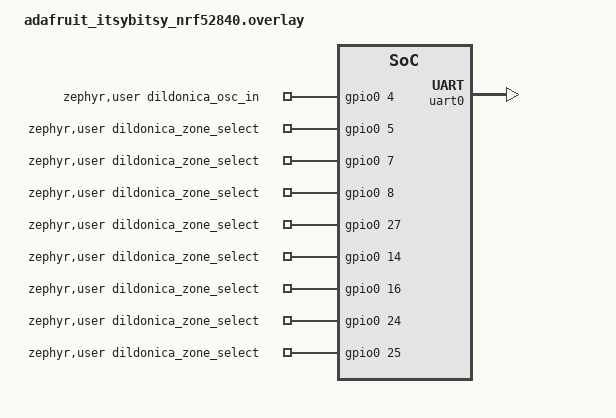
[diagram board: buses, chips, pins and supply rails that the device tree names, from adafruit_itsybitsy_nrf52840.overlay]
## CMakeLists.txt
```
#
# Copyright (c) 2018 Nordic Semiconductor
#
# SPDX-License-Identifier: LicenseRef-Nordic-5-Clause
#
cmake_minimum_required(VERSION 3.20.0)

find_package(Zephyr REQUIRED HINTS $ENV{ZEPHYR_BASE})
project(dildonica)

# NORDIC SDK APP START
target_sources(app PRIVATE
  src/bluetooth_peripheral_gatt.cpp
  src/bluetooth_dildonica.cpp
  src/dildonica.cpp
)

#target_include_directories(app PRIVATE common)

# NORDIC SDK APP END
```

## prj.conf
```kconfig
CONFIG_NRFX_TIMER3=y
CONFIG_NRFX_TIMER4=y
CONFIG_NRFX_TIMER2=y
CONFIG_NRFX_COMP=y
CONFIG_NRFX_PPI=y
CONFIG_GPIO=y

CONFIG_STD_C23=y
#CONFIG_DEBUG=y
CONFIG_DEBUG_OPTIMIZATIONS=y

CONFIG_BT=y
CONFIG_BT_PERIPHERAL=y
CONFIG_BT_GATT_CLIENT=y
CONFIG_BT_DEVICE_NAME="Dildonica V2"

CONFIG_BT_SMP=y
CONFIG_BT_SMP_ALLOW_UNAUTH_OVERWRITE=y

CONFIG_BT_BUF_ACL_RX_SIZE=255
CONFIG_BT_BUF_ACL_TX_SIZE=251
CONFIG_BT_BUF_CMD_TX_SIZE=255
CONFIG_BT_BUF_EVT_DISCARDABLE_SIZE=255

CONFIG_BT_L2CAP_TX_MTU=247

CONFIG_HEAP_MEM_POOL_SIZE=256

CONFIG_LOG=y

#CONFIG_USE_SEGGER_RTT=y
#CONFIG_RTT_CONSOLE=y

#CONFIG_UART_CONSOLE=n

CONFIG_CPP=y
```

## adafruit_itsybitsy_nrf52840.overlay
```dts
// To get started, press Ctrl+Space to bring up the completion menu and view the available nodes.

// You can also use the buttons in the sidebar to perform actions on nodes.
// Actions currently available include:

// * Enabling / disabling the node
// * Adding the bus to a bus
// * Removing the node
// * Connecting ADC channels

// For more help, browse the DeviceTree documentation at https://docs.zephyrproject.org/latest/guides/dts/index.html
// You can also visit the nRF DeviceTree extension documentation at https://docs.nordicsemi.com/bundle/nrf-connect-vscode/page/guides/ncs_configure_app.html#devicetree-support-in-the-extension

/ {
	zephyr,user {
		dildonica_osc_in-gpios = <&gpio0 4 0>;
		dildonica_zone_select-gpios = <&gpio0 5 0>, <&gpio0 7 0>, <&gpio0 8 0>, <&gpio0 27 0>, <&gpio0 14 0>, <&gpio0 16 0>, <&gpio0 24 0>, <&gpio0 25 0>;
	};
};

&uart0 {
	status = "okay";
};

&uart0_default {
	group1 {
		psels = <NRF_PSEL(UART_TX, 0, 15)>, <NRF_PSEL(UART_RX, 0, 20)>;
	};
};
```

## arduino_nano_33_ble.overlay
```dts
// To get started, press Ctrl+Space to bring up the completion menu and view the available nodes.

// You can also use the buttons in the sidebar to perform actions on nodes.
// Actions currently available include:

// * Enabling / disabling the node
// * Adding the bus to a bus
// * Removing the node
// * Connecting ADC channels

// For more help, browse the DeviceTree documentation at https://docs.zephyrproject.org/latest/guides/dts/index.html
// You can also visit the nRF DeviceTree extension documentation at https://docs.nordicsemi.com/bundle/nrf-connect-vscode/page/guides/ncs_configure_app.html#devicetree-support-in-the-extension

/ {
	zephyr,user {
		dildonica_osc_in-gpios = <&gpio0 4 0>;
		dildonica_zone_select-gpios = <&gpio1 12 0>, <&gpio1 15 0>, <&gpio1 13 0>, <&gpio1 14 0>, <&gpio0 23 0>, <&gpio0 21 0>, <&gpio0 27 0>, <&gpio1 2 0>;
	};
};


&adc {
	status = "disabled";
};

&comp {
	status = "okay";
};

&uart0 {
	current-speed = <1000000>;
	compatible = "nordic,nrf-uarte";
};
```

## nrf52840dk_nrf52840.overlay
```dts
// To get started, press Ctrl+Space to bring up the completion menu and view the available nodes.

// You can also use the buttons in the sidebar to perform actions on nodes.
// Actions currently available include:

// * Enabling / disabling the node
// * Adding the bus to a bus
// * Removing the node
// * Connecting ADC channels

// For more help, browse the DeviceTree documentation at https://docs.zephyrproject.org/latest/guides/dts/index.html
// You can also visit the nRF DeviceTree extension documentation at https://docs.nordicsemi.com/bundle/nrf-connect-vscode/page/guides/ncs_configure_app.html#devicetree-support-in-the-extension

/ {
	zephyr,user {
		dildonica_osc_in-gpios = <&gpio0 4 0>;
		dildonica_zone_select-gpios = <&gpio1 12 0>, <&gpio1 15 0>, <&gpio1 13 0>, <&gpio1 14 0>, <&gpio0 23 0>, <&gpio0 21 0>, <&gpio0 27 0>, <&gpio1 2 0>;
	};
};


&adc {
	status = "disabled";
};

&comp {
	status = "okay";
};
```

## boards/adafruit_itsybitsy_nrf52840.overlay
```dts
// To get started, press Ctrl+Space to bring up the completion menu and view the available nodes.

// You can also use the buttons in the sidebar to perform actions on nodes.
// Actions currently available include:

// * Enabling / disabling the node
// * Adding the bus to a bus
// * Removing the node
// * Connecting ADC channels

// For more help, browse the DeviceTree documentation at https://docs.zephyrproject.org/latest/guides/dts/index.html
// You can also visit the nRF DeviceTree extension documentation at https://docs.nordicsemi.com/bundle/nrf-connect-vscode/page/guides/ncs_configure_app.html#devicetree-support-in-the-extension

/ {
	zephyr,user {
		dildonica_osc_in-gpios = <&gpio0 4 0>;
		dildonica_zone_select-gpios = <&gpio0 14 0>, <&gpio0 27 0>, <&gpio1 8 0>, <&gpio0 7 0>, <&gpio0 5 0>, <&gpio0 26 0>, <&gpio0 11 0>, <&gpio0 12 0>;
	};
};

&adc {
	status = "disabled";
};

&comp {
	status = "okay";
};
```

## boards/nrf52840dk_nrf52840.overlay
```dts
// To get started, press Ctrl+Space to bring up the completion menu and view the available nodes.

// You can also use the buttons in the sidebar to perform actions on nodes.
// Actions currently available include:

// * Enabling / disabling the node
// * Adding the bus to a bus
// * Removing the node
// * Connecting ADC channels

// For more help, browse the DeviceTree documentation at https://docs.zephyrproject.org/latest/guides/dts/index.html
// You can also visit the nRF DeviceTree extension documentation at https://docs.nordicsemi.com/bundle/nrf-connect-vscode/page/guides/ncs_configure_app.html#devicetree-support-in-the-extension

/ {
	zephyr,user {
		dildonica_osc_in-gpios = <&gpio0 4 0>;
		dildonica_zone_select-gpios = <&gpio1 12 0>, <&gpio1 15 0>, <&gpio1 13 0>, <&gpio1 14 0>, <&gpio0 23 0>, <&gpio0 21 0>, <&gpio0 27 0>, <&gpio1 2 0>;
	};
};

&adc {
	status = "disabled";
};

&comp {
	status = "okay";
};
```

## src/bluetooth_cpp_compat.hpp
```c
#ifndef BLUETOOTH_CPP_COMPAT_HPP
#define BLUETOOTH_CPP_COMPAT_HPP

#include <zephyr/bluetooth/bluetooth.h>

#ifdef __cplusplus
extern "C" {
#endif

// Wrapper function to create bt_le_adv_param
inline const struct bt_le_adv_param* create_bt_le_adv_param(uint32_t options,
                                                            uint32_t interval_min,
                                                            uint32_t interval_max,
                                                            const bt_addr_le_t *peer)
{
    static struct bt_le_adv_param param;
    param = {
        .id = BT_ID_DEFAULT,
        .sid = 0,
        .secondary_max_skip = 0,
        .options = options,
        .interval_min = interval_min,
        .interval_max = interval_max,
        .peer = peer
    };
    return &param;
}

// Redefine the problematic macro
#undef BT_LE_ADV_PARAM
#define BT_LE_ADV_PARAM(_options, _int_min, _int_max, _peer) \
    create_bt_le_adv_param((_options), (_int_min), (_int_max), (_peer))

#ifdef __cplusplus
}
#endif

#endif // BLUETOOTH_CPP_COMPAT_HPP
```

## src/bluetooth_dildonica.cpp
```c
#include <zephyr/kernel.h>

#include "circularbuffer.hpp"

#include "bluetooth_dildonica.hpp"

extern "C" {
    #include <zephyr/bluetooth/bluetooth.h>
    #include <zephyr/bluetooth/conn.h>
    #include <zephyr/bluetooth/gatt.h>
}

extern bool notif_enabled;
extern struct bt_conn *conn_connected;

extern const struct bt_gatt_service_static midi_svc;

void send_bluetooth_sample(DildonicaBluetoothMessage btMessage) {

    struct bt_conn *conn = nullptr;

    if (conn_connected && notif_enabled) {
        /* Get a connection reference to ensure that a
            * reference is maintained in case disconnected
            * callback is called while we perform GATT Write
            * command.
            */
        conn = bt_conn_ref(conn_connected);
    }

    if (conn) {

        //Send MIDI message as a notification
        int err = bt_gatt_notify(conn, &midi_svc.attrs[1], &btMessage, sizeof(btMessage));
        if (err) {
            printk("Failed to send MIDI notification (err %d)\n", err);
        }

        bt_conn_unref(conn);			
    }
}
```

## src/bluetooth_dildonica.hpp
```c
struct DildonicaBluetoothMessage {
	uint32_t timestamp;
	uint32_t rawSample;
    uint8_t zone;
	uint8_t threshLo;
	uint8_t threshHi;
};

void setup_bluetooth_peripheral();

void send_bluetooth_sample(DildonicaBluetoothMessage sample);
```

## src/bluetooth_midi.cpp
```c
#include <zephyr/kernel.h>

#include "circularbuffer.hpp"

#include "dildonica_midi.hpp"

extern "C" {
    #include <zephyr/bluetooth/bluetooth.h>
    #include <zephyr/bluetooth/conn.h>
    #include <zephyr/bluetooth/gatt.h>
}

extern bool notif_enabled;
extern struct bt_conn *conn_connected;

extern const struct bt_gatt_service_static midi_svc;

static CircularQueue<DildonicaData, 256> dildonicaMessageQueue;

uint8_t getTimestampHighByte(uint16_t timestampMillis) {
	return 0x80 | ((timestampMillis >> 7) 	& 0b0111111);
}
uint8_t getTimestampLowByte(uint16_t timestampMillis) {
	return 0x80 | (timestampMillis 		    & 0b1111111);
}


void send_dildonica_raw(uint32_t timestamp, uint16_t zone, uint32_t value)
{
	DildonicaData thisMessage = {
        timestamp,
        value,
        zone
    };

    dildonicaMessageQueue.enqueue(thisMessage);
}


void send_midi_thread()
{
	while(1) {
		while(!dildonicaMessageQueue.is_empty()) {
            DildonicaData thisMessage = dildonicaMessageQueue.dequeue();

            struct bt_conn *conn = nullptr;

            if (conn_connected && notif_enabled) {
                /* Get a connection reference to ensure that a
                    * reference is maintained in case disconnected
                    * callback is called while we perform GATT Write
                    * command.
                    */
                conn = bt_conn_ref(conn_connected);
            }

            if (conn) {

                //Send MIDI message as a notification
                int err = bt_gatt_notify(conn, &midi_svc.attrs[1], &thisMessage, sizeof(thisMessage));
                if (err) {
                    printk("Failed to send MIDI notification (err %d)\n", err);
                }

                bt_conn_unref(conn);			
            }

        }

		k_yield();
	}
}
```

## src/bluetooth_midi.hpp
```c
#ifndef BLUETOOTH_MIDI_HPP
#define BLUETOOTH_MIDI_HPP

#include <zephyr/bluetooth/gatt.h>

#ifdef __cplusplus
extern "C" {
#endif

extern const struct bt_gatt_service_static midi_svc;

#ifdef __cplusplus
}
#endif

#endif // BLUETOOTH_MIDI_HPP
```

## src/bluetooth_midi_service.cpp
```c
#include <zephyr/bluetooth/bluetooth.h>
#include <zephyr/bluetooth/gatt.h>

extern "C" {
    #include <zephyr/bluetooth/uuid.h>
}

#define BT_UUID_MIDI_SERVICE BT_UUID_128_ENCODE(0x03B80E5A, 0xEDE8, 0x4B33, 0xA751, 0x6CE34EC4C700)
static const struct bt_uuid_128 midi_service_uuid = BT_UUID_INIT_128(BT_UUID_MIDI_SERVICE);

#define BT_UUID_MIDI_CHARACTERISTIC BT_UUID_128_ENCODE(0x7772E5DB, 0x3868, 0x4112, 0xA1A9, 0xF2669D106BF3)
static const struct bt_uuid_128 midi_characteristic_uuid = BT_UUID_INIT_128(BT_UUID_MIDI_CHARACTERISTIC);

extern "C" {
    void midi_ccc_cfg_changed(const struct bt_gatt_attr *attr, uint16_t value);
    ssize_t read_midi(struct bt_conn *conn, const struct bt_gatt_attr *attr,
                      void *buf, uint16_t len, uint16_t offset);
}

BT_GATT_SERVICE_DEFINE(midi_svc,
    BT_GATT_PRIMARY_SERVICE(&midi_service_uuid),
    BT_GATT_CHARACTERISTIC(&midi_characteristic_uuid.uuid,
                           BT_GATT_CHRC_READ | BT_GATT_CHRC_WRITE | BT_GATT_CHRC_WRITE_WITHOUT_RESP | BT_GATT_CHRC_NOTIFY,
                           BT_GATT_PERM_READ | BT_GATT_PERM_WRITE,
                           read_midi, nullptr, nullptr),
    BT_GATT_CCC(midi_ccc_cfg_changed, BT_GATT_PERM_READ | BT_GATT_PERM_WRITE),
);
```

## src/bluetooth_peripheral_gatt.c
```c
/*
 * Copyright (c) 2022 Nordic Semiconductor ASA
 *
 * SPDX-License-Identifier: Apache-2.0
 */

#include <zephyr/kernel.h>
#include <zephyr/sys/printk.h>

#include <zephyr/bluetooth/bluetooth.h>
#include <zephyr/bluetooth/conn.h>
#include <zephyr/bluetooth/gatt.h>

// from gatt_write_common.c /////////////////////////////////

static struct bt_gatt_exchange_params mtu_exchange_params;
struct bt_conn *conn_connected;
uint32_t last_write_rate;
void (*start_scan_func)(void);

static void mtu_exchange_cb(struct bt_conn *conn, uint8_t err,
			    struct bt_gatt_exchange_params *params)
{
	printk("%s: MTU exchange %s (%u)\n", __func__,
	       err == 0U ? "successful" : "failed",
	       bt_gatt_get_mtu(conn));
}

static int mtu_exchange(struct bt_conn *conn)
{
	int err;

	printk("%s: Current MTU = %u\n", __func__, bt_gatt_get_mtu(conn));

	mtu_exchange_params.func = mtu_exchange_cb;

	printk("%s: Exchange MTU...\n", __func__);
	err = bt_gatt_exchange_mtu(conn, &mtu_exchange_params);
	if (err) {
		printk("%s: MTU exchange failed (err %d)", __func__, err);
	}

	return err;
}

static void connected(struct bt_conn *conn, uint8_t conn_err)
{
	struct bt_conn_info conn_info;
	char addr[BT_ADDR_LE_STR_LEN];
	int err;

	bt_addr_le_to_str(bt_conn_get_dst(conn), addr, sizeof(addr));

	if (conn_err) {
		printk("%s: Failed to connect to %s (%u)\n", __func__, addr,
		       conn_err);
		return;
	}

	err = bt_conn_get_info(conn, &conn_info);
	if (err) {
		printk("Failed to get connection info (%d).\n", err);
		return;
	}

	printk("%s: %s role %u\n", __func__, addr, conn_info.role);

	conn_connected = bt_conn_ref(conn);

	(void)mtu_exchange(conn);

#if defined(CONFIG_BT_SMP)
	if (conn_info.role == BT_CONN_ROLE_CENTRAL) {
		err = bt_conn_set_security(conn, BT_SECURITY_L2);
		if (err) {
			printk("Failed to set security (%d).\n", err);
		}
	}
#endif
}

static void disconnected(struct bt_conn *conn, uint8_t reason)
{
	struct bt_conn_info conn_info;
	char addr[BT_ADDR_LE_STR_LEN];
	int err;

	bt_addr_le_to_str(bt_conn_get_dst(conn), addr, sizeof(addr));

	err = bt_conn_get_info(conn, &conn_info);
	if (err) {
		printk("Failed to get connection info (%d).\n", err);
		return;
	}

	printk("%s: %s role %u (reason %u)\n", __func__, addr, conn_info.role,
	       reason);

	conn_connected = NULL;

	bt_conn_unref(conn);

	if (conn_info.role == BT_CONN_ROLE_CENTRAL) {
		start_scan_func();
	}
}

static bool le_param_req(struct bt_conn *conn, struct bt_le_conn_param *param)
{
	printk("%s: int (0x%04x, 0x%04x) lat %u to %u\n", __func__,
	       param->interval_min, param->interval_max, param->latency,
	       param->timeout);

	return true;
}

static void le_param_updated(struct bt_conn *conn, uint16_t interval,
			     uint16_t latency, uint16_t timeout)
{
	printk("%s: int 0x%04x lat %u to %u\n", __func__, interval,
	       latency, timeout);
}

#if defined(CONFIG_BT_SMP)
static void security_changed(struct bt_conn *conn, bt_security_t level,
			     enum bt_security_err err)
{
	printk("%s: to level %u (err %u)\n", __func__, level, err);
}
#endif

BT_CONN_CB_DEFINE(conn_callbacks) = {
	.connected = connected,
	.disconnected = disconnected,
	.le_param_req = le_param_req,
	.le_param_updated = le_param_updated,
#if defined(CONFIG_BT_SMP)
	.security_changed = security_changed,
#endif
};

// end from gatt_write_common.c /////////////////////////////////

bool notif_enabled = false;
uint8_t midi_data[5] = {0x80, 0x80, 0, 0, 0}; // Buffer for MIDI messages

#define BT_UUID_MIDI_SERVICE BT_UUID_128_ENCODE(0x03B80E5A, 0xEDE8, 0x4B33, 0xA751, 0x6CE34EC4C700)
static struct bt_uuid_128 midi_service_uuid = BT_UUID_INIT_128(BT_UUID_MIDI_SERVICE);

#define BT_UUID_MIDI_CHARACTERISTIC BT_UUID_128_ENCODE(0x7772E5DB, 0x3868, 0x4112, 0xA1A9, 0xF2669D106BF3)
static struct bt_uuid_128 midi_characteristic_uuid = BT_UUID_INIT_128(BT_UUID_MIDI_CHARACTERISTIC);

static void midi_ccc_cfg_changed(const struct bt_gatt_attr *attr, uint16_t value)
{
    notif_enabled = (value == BT_GATT_CCC_NOTIFY);
    printk("MIDI notifications %s\n", notif_enabled ? "enabled" : "disabled");
}

static ssize_t read_midi(struct bt_conn *conn, const struct bt_gatt_attr *attr,
                         void *buf, uint16_t len, uint16_t offset)
{
    printk("MIDI read request\n");
    return bt_gatt_attr_read(conn, attr, buf, len, offset, midi_data, sizeof(midi_data));
}

BT_GATT_SERVICE_DEFINE(midi_svc,
    BT_GATT_PRIMARY_SERVICE(&midi_service_uuid),
    BT_GATT_CHARACTERISTIC(&midi_characteristic_uuid.uuid,
                           BT_GATT_CHRC_READ | BT_GATT_CHRC_WRITE | BT_GATT_CHRC_WRITE_WITHOUT_RESP | BT_GATT_CHRC_NOTIFY,
                           BT_GATT_PERM_READ | BT_GATT_PERM_WRITE,
                           read_midi, NULL, NULL),
	BT_GATT_CCC(midi_ccc_cfg_changed, BT_GATT_PERM_READ | BT_GATT_PERM_WRITE),
);

static const struct bt_data ad[] = {
	BT_DATA_BYTES(BT_DATA_FLAGS, (BT_LE_AD_GENERAL | BT_LE_AD_NO_BREDR)),
    BT_DATA_BYTES(BT_DATA_UUID128_ALL, BT_UUID_MIDI_SERVICE),
};

static const struct bt_data sd[] = {
	BT_DATA(BT_DATA_NAME_COMPLETE, CONFIG_BT_DEVICE_NAME, sizeof(CONFIG_BT_DEVICE_NAME) - 1),
};

static void mtu_updated(struct bt_conn *conn, uint16_t tx, uint16_t rx)
{
	printk("Updated MTU: TX: %d RX: %d bytes\n", tx, rx);
}

#if defined(CONFIG_BT_SMP)
static void auth_cancel(struct bt_conn *conn)
{
	char addr[BT_ADDR_LE_STR_LEN];

	bt_addr_le_to_str(bt_conn_get_dst(conn), addr, sizeof(addr));

	printk("Pairing cancelled: %s\n", addr);
}

static struct bt_conn_auth_cb auth_callbacks = {
	.cancel = auth_cancel,
};
#endif /* CONFIG_BT_SMP */

static struct bt_gatt_cb gatt_callbacks = {
	.att_mtu_updated = mtu_updated
};


// TODO: Fix MTU exchange!

void setup_bluetooth_peripheral()
{
	int err;

	err = bt_enable(NULL);
	if (err) {
		printk("Bluetooth init failed (err %d)\n", err);
		return;
	}

	printk("Bluetooth initialized\n");

	bt_gatt_cb_register(&gatt_callbacks);

#if defined(CONFIG_BT_SMP)
	(void)bt_conn_auth_cb_register(&auth_callbacks);
#endif /* CONFIG_BT_SMP */

	err = bt_le_adv_start(BT_LE_ADV_CONN, ad, ARRAY_SIZE(ad), sd, ARRAY_SIZE(sd));
	if (err) {
		printk("Advertising failed to start (err %d)\n", err);
		return;
	}

	printk("Advertising successfully started\n");

	conn_connected = NULL;
}
```

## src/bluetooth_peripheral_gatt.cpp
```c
/*
 * Copyright (c) 2022 Nordic Semiconductor ASA
 *
 * SPDX-License-Identifier: Apache-2.0
 */

#include <zephyr/kernel.h>
#include <zephyr/sys/printk.h>

extern "C" {
    #include <zephyr/bluetooth/bluetooth.h>
    #include <zephyr/bluetooth/conn.h>
    #include <zephyr/bluetooth/gatt.h>
}

#include "bluetooth_cpp_compat.hpp"

#include "bluetooth_dildonica.hpp"

// from gatt_write_common.c /////////////////////////////////

static struct bt_gatt_exchange_params mtu_exchange_params;
struct bt_conn *conn_connected;
uint32_t last_write_rate;
void (*start_scan_func)();

static void mtu_exchange_cb(struct bt_conn *conn, uint8_t err,
			    struct bt_gatt_exchange_params *params)
{
	printk("%s: MTU exchange %s (%u)\n", __func__,
	       err == 0U ? "successful" : "failed",
	       bt_gatt_get_mtu(conn));
}

static int mtu_exchange(struct bt_conn *conn)
{
	int err;

	printk("%s: Current MTU = %u\n", __func__, bt_gatt_get_mtu(conn));

	mtu_exchange_params.func = mtu_exchange_cb;

	printk("%s: Exchange MTU...\n", __func__);
	err = bt_gatt_exchange_mtu(conn, &mtu_exchange_params);
	if (err) {
		printk("%s: MTU exchange failed (err %d)", __func__, err);
	}

	return err;
}

static void connected(struct bt_conn *conn, uint8_t conn_err)
{
	struct bt_conn_info conn_info{};
	char addr[BT_ADDR_LE_STR_LEN];
	int err;

	bt_addr_le_to_str(bt_conn_get_dst(conn), addr, sizeof(addr));

	if (conn_err) {
		printk("%s: Failed to connect to %s (%u)\n", __func__, addr,
		       conn_err);
		return;
	}

	err = bt_conn_get_info(conn, &conn_info);
	if (err) {
		printk("Failed to get connection info (%d).\n", err);
		return;
	}

	printk("%s: %s role %u\n", __func__, addr, conn_info.role);

	conn_connected = bt_conn_ref(conn);

	(void)mtu_exchange(conn);

#if defined(CONFIG_BT_SMP)
	if (conn_info.role == BT_CONN_ROLE_CENTRAL) {
		err = bt_conn_set_security(conn, BT_SECURITY_L2);
		if (err) {
			printk("Failed to set security (%d).\n", err);
		}
	}
#endif
}

static void disconnected(struct bt_conn *conn, uint8_t reason)
{
	struct bt_conn_info conn_info{};
	char addr[BT_ADDR_LE_STR_LEN];
	int err;

	bt_addr_le_to_str(bt_conn_get_dst(conn), addr, sizeof(addr));

	err = bt_conn_get_info(conn, &conn_info);
	if (err) {
		printk("Failed to get connection info (%d).\n", err);
		return;
	}

	printk("%s: %s role %u (reason %u)\n", __func__, addr, conn_info.role,
	       reason);

	conn_connected = nullptr;

	bt_conn_unref(conn);

	if (conn_info.role == BT_CONN_ROLE_CENTRAL) {
		start_scan_func();
	}
}

static bool le_param_req(struct bt_conn *conn, struct bt_le_conn_param *param)
{
	printk("%s: int (0x%04x, 0x%04x) lat %u to %u\n", __func__,
	       param->interval_min, param->interval_max, param->latency,
	       param->timeout);

	return true;
}

static void le_param_updated(struct bt_conn *conn, uint16_t interval,
			     uint16_t latency, uint16_t timeout)
{
	printk("%s: int 0x%04x lat %u to %u\n", __func__, interval,
	       latency, timeout);
}

#if defined(CONFIG_BT_SMP)
static void security_changed(struct bt_conn *conn, bt_security_t level,
			     enum bt_security_err err)
{
	printk("%s: to level %u (err %u)\n", __func__, level, err);
}
#endif

BT_CONN_CB_DEFINE(conn_callbacks) = {
	.connected = connected,
	.disconnected = disconnected,
	.le_param_req = le_param_req,
	.le_param_updated = le_param_updated,
#if defined(CONFIG_BT_SMP)
	.security_changed = security_changed,
#endif
};

// end from gatt_write_common.c /////////////////////////////////

bool notif_enabled = false;

DildonicaBluetoothMessage lastDildonicaSample;

extern const struct bt_gatt_service_static midi_svc;

#define BT_UUID_MIDI_SERVICE BT_UUID_128_ENCODE(0x64696C64, 0x0000, 0x1000, 0x8000, 0x0000CAFEBABE)
struct bt_uuid_128 midi_service_uuid = BT_UUID_INIT_128(BT_UUID_MIDI_SERVICE);

#define BT_UUID_MIDI_CHARACTERISTIC BT_UUID_128_ENCODE(0x6F6E6963, 0x0000, 0x1000, 0x8000, 0x0000CAFEBABE)
struct bt_uuid_128 midi_characteristic_uuid = BT_UUID_INIT_128(BT_UUID_MIDI_CHARACTERISTIC);

void midi_ccc_cfg_changed(const struct bt_gatt_attr *attr, uint16_t value)
{
    notif_enabled = (value == BT_GATT_CCC_NOTIFY);
    printk("MIDI notifications %s\n", notif_enabled ? "enabled" : "disabled");
}

ssize_t read_midi(struct bt_conn *conn, const struct bt_gatt_attr *attr,
                         void *buf, uint16_t len, uint16_t offset)
{
    printk("MIDI read request\n");
    return bt_gatt_attr_read(conn, attr, buf, len, offset, &lastDildonicaSample, sizeof(lastDildonicaSample));
}

ssize_t write_midi(struct bt_conn *conn, const struct bt_gatt_attr *attr,
                          const void *buf, uint16_t len, uint16_t offset, uint8_t flags)
{
    printk("MIDI write request (ignored)\n");
    return 1; // Always return 1 to acknowledge the write
}

BT_GATT_SERVICE_DEFINE(midi_svc,
    BT_GATT_PRIMARY_SERVICE(&midi_service_uuid),
    BT_GATT_CHARACTERISTIC(&midi_characteristic_uuid.uuid,
                           BT_GATT_CHRC_READ | BT_GATT_CHRC_WRITE | BT_GATT_CHRC_WRITE_WITHOUT_RESP | BT_GATT_CHRC_NOTIFY,
                           BT_GATT_PERM_READ | BT_GATT_PERM_WRITE,
                           read_midi, write_midi, nullptr),
	BT_GATT_CCC(midi_ccc_cfg_changed, BT_GATT_PERM_READ | BT_GATT_PERM_WRITE),
);

static const struct bt_data ad[] = {
	BT_DATA_BYTES(BT_DATA_FLAGS, (BT_LE_AD_GENERAL | BT_LE_AD_NO_BREDR)),
    BT_DATA_BYTES(BT_DATA_UUID128_ALL, BT_UUID_MIDI_SERVICE),
};

static const struct bt_data sd[] = {
	BT_DATA(BT_DATA_NAME_COMPLETE, CONFIG_BT_DEVICE_NAME, sizeof(CONFIG_BT_DEVICE_NAME) - 1),
};

static void mtu_updated(struct bt_conn *conn, uint16_t tx, uint16_t rx)
{
	printk("Updated MTU: TX: %d RX: %d bytes\n", tx, rx);
}

#if defined(CONFIG_BT_SMP)
static void auth_cancel(struct bt_conn *conn)
{
	char addr[BT_ADDR_LE_STR_LEN];

	bt_addr_le_to_str(bt_conn_get_dst(conn), addr, sizeof(addr));

	printk("Pairing cancelled: %s\n", addr);
}

static struct bt_conn_auth_cb auth_callbacks = {
	.cancel = auth_cancel,
};
#endif /* CONFIG_BT_SMP */

static struct bt_gatt_cb gatt_callbacks = {
	.att_mtu_updated = mtu_updated
};


// TODO: Fix MTU exchange!

void setup_bluetooth_peripheral()
{
	int err;

	err = bt_enable(nullptr);
	if (err) {
		printk("Bluetooth init failed (err %d)\n", err);
		return;
	}

	printk("Bluetooth initialized\n");

	bt_gatt_cb_register(&gatt_callbacks);

#if defined(CONFIG_BT_SMP)
	(void)bt_conn_auth_cb_register(&auth_callbacks);
#endif /* CONFIG_BT_SMP */

	err = bt_le_adv_start(BT_LE_ADV_CONN, ad, ARRAY_SIZE(ad), sd, ARRAY_SIZE(sd));
	if (err) {
		printk("Advertising failed to start (err %d)\n", err);
		return;
	}

	printk("Advertising successfully started\n");

	conn_connected = nullptr;
}
```

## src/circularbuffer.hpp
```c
//
// Created by me on 6/30/24.
//

#ifndef DILDONICA_BLEMIDI_CIRCULARBUFFER_H
#define DILDONICA_BLEMIDI_CIRCULARBUFFER_H

template <typename T, size_t CAPACITY>
class CircularQueue {
private:
    T buffer[CAPACITY];
    size_t front;
    size_t rear;
    size_t size;

public:
    CircularQueue() : front(0), rear(0), size(0) {}

    void enqueue(const T& item) {
        buffer[rear] = item;
        rear = (rear + 1) % CAPACITY;
        if (is_full()) {
            while(1){};
        }
        size++;
    }

    T& dequeue() {
        if (is_empty()) {
            while(1){};
        }
        T& item = buffer[front];
        front = (front + 1) % CAPACITY;
        size--;
        return item;
    }

    T peek() const {
        if (is_empty()) {
            while(1){};
        }
        return buffer[front];
    }

    bool is_empty() const {
        return size == 0;
    }

    bool is_full() const {
        return size == CAPACITY;
    }

    size_t get_size() const {
        return size;
    }
};

#endif //DILDONICA_BLEMIDI_CIRCULARBUFFER_H
```

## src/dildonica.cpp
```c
#include <soc.h>
#include <nrfx.h>
#include <zephyr/drivers/gpio.h>
#include <nrfx_timer.h>
#include <nrfx_comp.h>
#include <nrfx_ppi.h>
#include <zephyr/kernel.h>
#include <math.h>

#include "circularbuffer.hpp"
#include "bluetooth_dildonica.hpp"

#define D_TIMER_INST_IDX 3
#define D_COUNTER_INST_IDX 4
#define D_TIMESTAMP_INST_IDX 2
static nrfx_timer_t TIMER_D_TIMER = NRFX_TIMER_INSTANCE(D_TIMER_INST_IDX);
static nrfx_timer_t TIMER_D_COUNTER = NRFX_TIMER_INSTANCE(D_COUNTER_INST_IDX);
static nrfx_timer_t TIMER_D_TIMESTAMP = NRFX_TIMER_INSTANCE(D_TIMESTAMP_INST_IDX);

#define TICKS_PER_MILLISECOND (NRF_TIMER_BASE_FREQUENCY_GET(TIMER_D_TIMER.p_reg) / 1000) 
#define TIMESTAMP_MS_MAX (1<<13)
#define TIMESTAMP_TICKS_MAX (TIMESTAMP_MS_MAX * TICKS_PER_MILLISECOND)
static uint64_t curTime = 0;

struct DildonicaSampleRaw {
    uint8_t zone;
    uint32_t timestamp;
    uint32_t cyclePeriod;
};

#define ZEPHYR_USER_NODE DT_PATH(zephyr_user)

#define LED_ON 1
#define LED_OFF 0
static const struct gpio_dt_spec PIN_LED0 = GPIO_DT_SPEC_GET(DT_ALIAS(led0), gpios);
//static const struct gpio_dt_spec PIN_LED1 = GPIO_DT_SPEC_GET(DT_ALIAS(led1), gpios);
//static const struct gpio_dt_spec PIN_LED2 = GPIO_DT_SPEC_GET(DT_ALIAS(led2), gpios);
// const int PIN_RGBLED_CLOCK = 6;
// const int PIN_RGBLED_DATA = 8;

static constexpr uint8_t DILDONICA_N_ZONES = 8;
static constexpr size_t DILDONICA_N_ZONE_SELECT_PINS = 8;
static const struct gpio_dt_spec PIN_DILDONICA_ZONE_SELECT[] = {
    GPIO_DT_SPEC_GET_BY_IDX(ZEPHYR_USER_NODE, dildonica_zone_select_gpios, 0),
    GPIO_DT_SPEC_GET_BY_IDX(ZEPHYR_USER_NODE, dildonica_zone_select_gpios, 1),
    GPIO_DT_SPEC_GET_BY_IDX(ZEPHYR_USER_NODE, dildonica_zone_select_gpios, 2),
    GPIO_DT_SPEC_GET_BY_IDX(ZEPHYR_USER_NODE, dildonica_zone_select_gpios, 3),
    GPIO_DT_SPEC_GET_BY_IDX(ZEPHYR_USER_NODE, dildonica_zone_select_gpios, 4),
    GPIO_DT_SPEC_GET_BY_IDX(ZEPHYR_USER_NODE, dildonica_zone_select_gpios, 5),
    GPIO_DT_SPEC_GET_BY_IDX(ZEPHYR_USER_NODE, dildonica_zone_select_gpios, 6),
    GPIO_DT_SPEC_GET_BY_IDX(ZEPHYR_USER_NODE, dildonica_zone_select_gpios, 7),
};

// Timer begins counting after this many oscillation cycles
// The delay is to ignore irregular cycles right after the coil is powered up
constexpr uint32_t DILDONICA_MEASUREMENT_CYCLES_BEGIN = 30;
// Measurement stops after this many cycles
constexpr uint32_t DILDONICA_MEASUREMENT_CYCLES_END = 5000 + DILDONICA_MEASUREMENT_CYCLES_BEGIN;
// If we don't have enough cycles after this much time, timeout - hardware error (coil broken, etc.)
constexpr uint32_t DILDONICA_MEASUREMENT_TIMEOUT = DILDONICA_MEASUREMENT_CYCLES_END * 20;

// Low and high voltage threshold values used for counting cycles
uint32_t DILDONICA_OSC_COMP_THRESH_LO = 12;
uint32_t DILDONICA_OSC_COMP_THRESH_HI = 13;

uint8_t dildonicaCurZone = 2;

static CircularQueue<DildonicaSampleRaw, 64> dildonicaSampleQueue;

constexpr uint8_t DILDONICA_MIDI_CONTROL_START = 41;
// This is: Units of MIDI Control Change for a 100% change in cycle period
constexpr float DILDONICA_MIDI_CONTROL_SLOPE = 10000.0;

uint32_t ledState = 0;

void set_dildonica_active_zones(uint8_t zoneMask) {
    for (uint8_t i = 0; i != DILDONICA_N_ZONE_SELECT_PINS; i++) {
        bool pinState = ((1 << i) & zoneMask);
        gpio_pin_set_dt(&PIN_DILDONICA_ZONE_SELECT[i], pinState);
    }
}

void setup_comparator() {
    nrfx_comp_config_t comp_config = NRFX_COMP_DEFAULT_CONFIG(NRF_COMP_INPUT_4);
    comp_config.main_mode = NRF_COMP_MAIN_MODE_SE;
    comp_config.speed_mode = NRF_COMP_SP_MODE_HIGH;
    comp_config.reference = NRF_COMP_REF_VDD;
    comp_config.threshold.th_down = DILDONICA_OSC_COMP_THRESH_LO;
    comp_config.threshold.th_up = DILDONICA_OSC_COMP_THRESH_HI;
    nrfx_err_t err = nrfx_comp_init(&comp_config, NULL);
    nrfx_comp_start(0,0);
}

void next_comp_threshold() {
    DILDONICA_OSC_COMP_THRESH_HI++;
    if(DILDONICA_OSC_COMP_THRESH_HI == 64) {
        DILDONICA_OSC_COMP_THRESH_LO++;
        if(DILDONICA_OSC_COMP_THRESH_LO == 64) {
            DILDONICA_OSC_COMP_THRESH_LO = 0;
        }
        DILDONICA_OSC_COMP_THRESH_HI = 0;
    }

    nrfx_comp_config_t comp_config = NRFX_COMP_DEFAULT_CONFIG(NRF_COMP_INPUT_4);
    comp_config.main_mode = NRF_COMP_MAIN_MODE_SE;
    comp_config.speed_mode = NRF_COMP_SP_MODE_HIGH;
    comp_config.reference = NRF_COMP_REF_VDD;
    comp_config.threshold.th_down = DILDONICA_OSC_COMP_THRESH_LO;
    comp_config.threshold.th_up = DILDONICA_OSC_COMP_THRESH_HI;

    nrfx_comp_stop();
    nrfx_err_t err = nrfx_comp_reconfigure(&comp_config);
    nrfx_comp_start(0,0);
}


static void d_timer_handler(nrf_timer_event_t event_type, void* p_context) {
    if (event_type == NRF_TIMER_EVENT_COMPARE2) {
        // Measurement timeout - this indicates a coil problem or other hardware issue

        // This math keeps the time correct after the 32-bit rollover
        curTime += nrfx_timer_capture(&TIMER_D_TIMESTAMP, NRF_TIMER_CC_CHANNEL0) - ((uint32_t)curTime);

        DildonicaSampleRaw thisSample = {
            dildonicaCurZone,
            curTime / TICKS_PER_MILLISECOND,
            0
        };
        dildonicaSampleQueue.enqueue(thisSample);
        
        // Move to next zone
        dildonicaCurZone = (dildonicaCurZone + 1) % DILDONICA_N_ZONES;
        set_dildonica_active_zones(1 << dildonicaCurZone);

        //next_comp_threshold();

        nrfx_timer_clear(&TIMER_D_TIMER);
        nrfx_timer_clear(&TIMER_D_COUNTER);
    }
}

static void d_counter_handler(nrf_timer_event_t event_type, void* p_context) {
    if (event_type == NRF_TIMER_EVENT_COMPARE1) {
        // Normal coil measurement
        
        uint32_t captureTimeBegin = nrfx_timer_capture_get(&TIMER_D_TIMER, NRF_TIMER_CC_CHANNEL0);
        uint32_t captureTimeEnd = nrfx_timer_capture_get(&TIMER_D_TIMER, NRF_TIMER_CC_CHANNEL1);

        // This math keeps the time correct after the 32-bit rollover
        curTime += nrfx_timer_capture(&TIMER_D_TIMESTAMP, NRF_TIMER_CC_CHANNEL0) - ((uint32_t)curTime);

        DildonicaSampleRaw thisSample = {
            dildonicaCurZone,
            curTime / TICKS_PER_MILLISECOND,
            captureTimeEnd - captureTimeBegin
        };
        dildonicaSampleQueue.enqueue(thisSample);

        dildonicaCurZone = (dildonicaCurZone + 1) % DILDONICA_N_ZONES;
        set_dildonica_active_zones(1 << dildonicaCurZone);

        //next_comp_threshold();

        nrfx_timer_clear(&TIMER_D_TIMER);
        nrfx_timer_clear(&TIMER_D_COUNTER);
    }
}

void setup_ppi() {
    nrf_ppi_channel_t ppi_channel;

    // Comparator UP -> TIMER_D_COUNTER Count
    nrfx_ppi_channel_alloc(&ppi_channel);
    nrfx_ppi_channel_assign(ppi_channel, nrfx_comp_event_address_get(NRF_COMP_EVENT_UP), nrfx_timer_task_address_get(&TIMER_D_COUNTER, NRF_TIMER_TASK_COUNT));
    nrfx_ppi_channel_enable(ppi_channel);

    // TIMER_D_COUNTER Compare -> Timer1 Capture
    nrfx_ppi_channel_alloc(&ppi_channel);
    nrfx_ppi_channel_assign(ppi_channel, nrfx_timer_event_address_get(&TIMER_D_COUNTER, NRF_TIMER_EVENT_COMPARE0), nrfx_timer_task_address_get(&TIMER_D_TIMER, NRF_TIMER_TASK_CAPTURE0));
    nrfx_ppi_channel_enable(ppi_channel);

    nrfx_ppi_channel_alloc(&ppi_channel);
    nrfx_ppi_channel_assign(ppi_channel, nrfx_timer_event_address_get(&TIMER_D_COUNTER, NRF_TIMER_EVENT_COMPARE1), nrfx_timer_task_address_get(&TIMER_D_TIMER, NRF_TIMER_TASK_CAPTURE1));
    nrfx_ppi_channel_enable(ppi_channel);
}

void setup_gpio() {
    gpio_pin_configure_dt(&PIN_LED0, GPIO_OUTPUT);
    //gpio_pin_configure_dt(&PIN_LED1, GPIO_OUTPUT);
    //gpio_pin_configure_dt(&PIN_LED2, GPIO_OUTPUT);
    gpio_pin_set_dt(&PIN_LED0, LED_OFF);
    //gpio_pin_set_dt(&PIN_LED1, LED_OFF);
    //gpio_pin_set_dt(&PIN_LED2, LED_OFF);

    for (int i = 0; i < 8; i++) {
        gpio_pin_configure_dt(&PIN_DILDONICA_ZONE_SELECT[i], GPIO_OUTPUT);
        gpio_pin_set_dt(&PIN_DILDONICA_ZONE_SELECT[i], 0);
    }

    set_dildonica_active_zones(1 << dildonicaCurZone);
}

void setup_timers() {

#if defined(__ZEPHYR__)
    IRQ_CONNECT(NRFX_IRQ_NUMBER_GET(NRF_TIMER_INST_GET(D_TIMER_INST_IDX)), IRQ_PRIO_LOWEST,
                NRFX_TIMER_INST_HANDLER_GET(D_TIMER_INST_IDX), nullptr, 0);
    IRQ_CONNECT(NRFX_IRQ_NUMBER_GET(NRF_TIMER_INST_GET(D_COUNTER_INST_IDX)), IRQ_PRIO_LOWEST,
                NRFX_TIMER_INST_HANDLER_GET(D_COUNTER_INST_IDX), nullptr, 0);
#endif

    uint32_t base_frequency = NRF_TIMER_BASE_FREQUENCY_GET(TIMER_D_TIMER.p_reg);
    nrfx_timer_config_t timer_cfg = NRFX_TIMER_DEFAULT_CONFIG(base_frequency);
    timer_cfg.bit_width = NRF_TIMER_BIT_WIDTH_32;
    timer_cfg.p_context = (void*)"Some context";
    timer_cfg.mode = NRF_TIMER_MODE_TIMER;
    nrfx_timer_init(&TIMER_D_TIMER, &timer_cfg, d_timer_handler);
    // Timeout interrupt
    nrfx_timer_extended_compare(&TIMER_D_TIMER,
                                NRF_TIMER_CC_CHANNEL2,
                                DILDONICA_MEASUREMENT_TIMEOUT,
                                (nrf_timer_short_mask_t)0,
                                true);
    nrfx_timer_enable(&TIMER_D_TIMER);

    base_frequency = NRF_TIMER_BASE_FREQUENCY_GET(TIMER_D_COUNTER.p_reg);
    timer_cfg = NRFX_TIMER_DEFAULT_CONFIG(base_frequency);
    timer_cfg.bit_width = NRF_TIMER_BIT_WIDTH_32;
    timer_cfg.p_context = (void*)"Some context";
    timer_cfg.mode = NRF_TIMER_MODE_COUNTER;
    nrfx_timer_init(&TIMER_D_COUNTER, &timer_cfg, d_counter_handler);
    nrfx_timer_extended_compare(&TIMER_D_COUNTER,
                                NRF_TIMER_CC_CHANNEL0,
                                DILDONICA_MEASUREMENT_CYCLES_BEGIN,
                                (nrf_timer_short_mask_t)0,
                                false);
    nrfx_timer_extended_compare(&TIMER_D_COUNTER,
                                NRF_TIMER_CC_CHANNEL1,
                                DILDONICA_MEASUREMENT_CYCLES_END,
                                (nrf_timer_short_mask_t)0,
                                true);
    nrfx_timer_enable(&TIMER_D_COUNTER);

    base_frequency = NRF_TIMER_BASE_FREQUENCY_GET(TIMER_D_TIMESTAMP.p_reg);
    timer_cfg = NRFX_TIMER_DEFAULT_CONFIG(base_frequency);
    timer_cfg.bit_width = NRF_TIMER_BIT_WIDTH_32;
    timer_cfg.p_context = (void*)"Some context";
    timer_cfg.mode = NRF_TIMER_MODE_TIMER;
    nrfx_timer_init(&TIMER_D_TIMESTAMP, &timer_cfg, NULL);
    nrfx_timer_enable(&TIMER_D_TIMESTAMP);
}

void dildonica_thread()
{
    while(1) {
        while(!dildonicaSampleQueue.is_empty()) {
            gpio_pin_set_dt(&PIN_LED0, (ledState++) & 1);

            DildonicaSampleRaw dSample = dildonicaSampleQueue.dequeue();

            DildonicaBluetoothMessage btMessage;
            btMessage.rawSample = dSample.cyclePeriod;
            btMessage.timestamp = dSample.timestamp;
            btMessage.zone = dSample.zone;
            btMessage.threshLo = DILDONICA_OSC_COMP_THRESH_LO;
            btMessage.threshHi = DILDONICA_OSC_COMP_THRESH_HI;

            send_bluetooth_sample(btMessage);
        }
    }
}

int main(void) {
    setup_gpio();
    setup_timers();
    setup_comparator();
    setup_ppi();
    setup_bluetooth_peripheral();

    dildonica_thread();
}
```

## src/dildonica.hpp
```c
#ifndef DILDONICA_HPP
#define DILDONICA_HPP

#include <cstdint>

struct DildonicaSampleRaw {
    uint8_t zone;
    uint32_t timestamp;
    uint32_t cyclePeriod;
};

void set_dildonica_active_zones(uint8_t zoneMask);
void setup_comparator();
void setup_ppi();
void setup_gpio();
void setup_timers();
void dildonica_thread(void);

// Constants and configuration values
constexpr uint32_t DILDONICA_MEASUREMENT_CYCLES_BEGIN = 100;
constexpr uint32_t DILDONICA_MEASUREMENT_CYCLES_END = 10100;
constexpr uint8_t DILDONICA_N_ZONES = 8;
constexpr uint8_t DILDONICA_MIDI_CONTROL_START = 41;
constexpr float DILDONICA_MIDI_CONTROL_SLOPE = 10000.0f;

#endif
```

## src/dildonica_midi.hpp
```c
struct DildonicaData {
	uint32_t timestamp;
	uint32_t rawSample;
    uint32_t zone;
};
```
